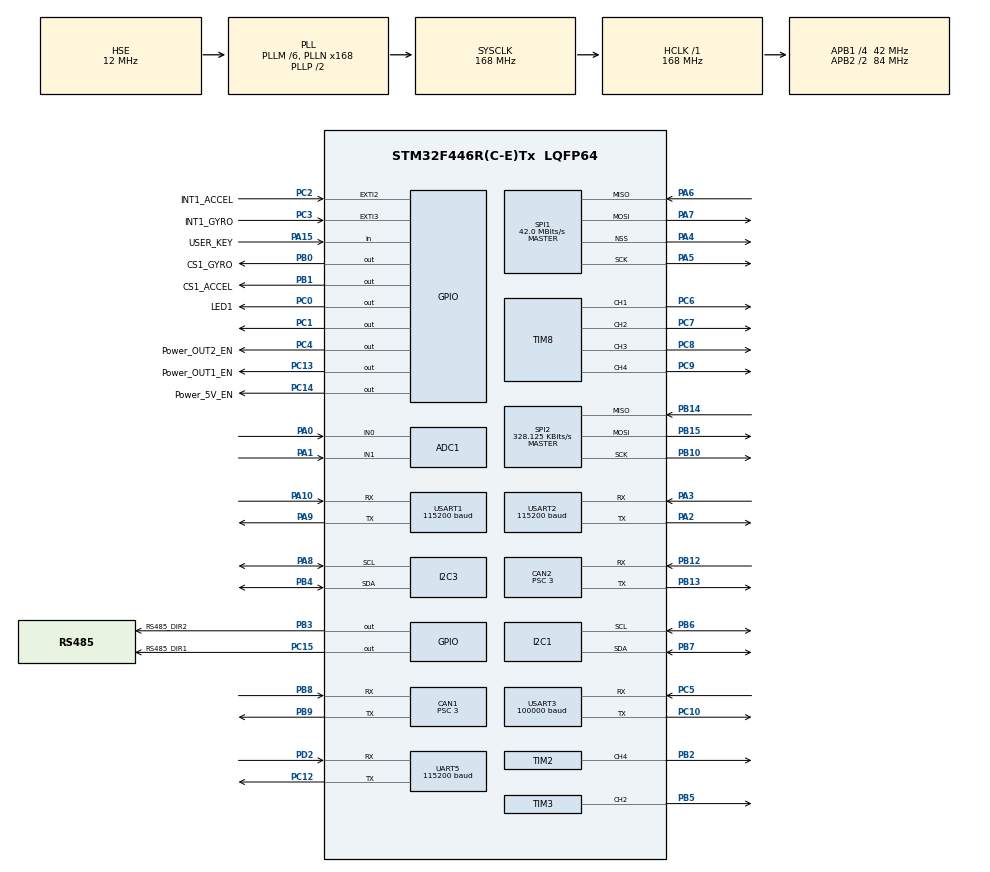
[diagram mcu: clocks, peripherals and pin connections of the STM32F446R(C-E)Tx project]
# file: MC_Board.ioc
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ADC1.Channel-0\#ChannelRegularConversion=ADC_CHANNEL_0
ADC1.NbrOfConversionFlag=1
ADC1.Rank-0\#ChannelRegularConversion=1
ADC1.SamplingTime-0\#ChannelRegularConversion=ADC_SAMPLETIME_3CYCLES
ADC1.master=1
CAN1.ABOM=ENABLE
CAN1.BS1=CAN_BS1_10TQ
CAN1.BS2=CAN_BS2_3TQ
CAN1.CalculateBaudRate=1000000
CAN1.CalculateTimeBit=1000
CAN1.CalculateTimeQuantum=71.42857142857143
CAN1.NART=ENABLE
CAN1.Prescaler=3
CAN1.SJW=CAN_SJW_1TQ
CAN2.BS1=CAN_BS1_10TQ
CAN2.BS2=CAN_BS2_3TQ
CAN2.CalculateBaudRate=1000000
CAN2.CalculateTimeBit=1000
CAN2.CalculateTimeQuantum=71.42857142857143
CAN2.Prescaler=3
CAN2.SJW=CAN_SJW_2TQ
Dma.Request0=USART3_RX
Dma.Request1=USART2_TX
Dma.Request2=USART2_RX
Dma.Request3=SPI2_RX
Dma.Request4=SPI2_TX
Dma.SPI2_RX.3.Direction=DMA_PERIPH_TO_MEMORY
Dma.SPI2_RX.3.FIFOMode=DMA_FIFOMODE_DISABLE
Dma.SPI2_RX.3.Instance=DMA1_Stream3
Dma.SPI2_RX.3.MemDataAlignment=DMA_MDATAALIGN_BYTE
Dma.SPI2_RX.3.MemInc=DMA_MINC_ENABLE
Dma.SPI2_RX.3.Mode=DMA_NORMAL
Dma.SPI2_RX.3.PeriphDataAlignment=DMA_PDATAALIGN_BYTE
Dma.SPI2_RX.3.PeriphInc=DMA_PINC_DISABLE
Dma.SPI2_RX.3.Priority=DMA_PRIORITY_VERY_HIGH
Dma.SPI2_TX.4.Direction=DMA_MEMORY_TO_PERIPH
Dma.SPI2_TX.4.FIFOMode=DMA_FIFOMODE_DISABLE
Dma.SPI2_TX.4.Instance=DMA1_Stream4
Dma.SPI2_TX.4.MemDataAlignment=DMA_MDATAALIGN_BYTE
Dma.SPI2_TX.4.MemInc=DMA_MINC_ENABLE
Dma.SPI2_TX.4.Mode=DMA_NORMAL
Dma.SPI2_TX.4.PeriphDataAlignment=DMA_PDATAALIGN_BYTE
Dma.SPI2_TX.4.PeriphInc=DMA_PINC_DISABLE
Dma.SPI2_TX.4.Priority=DMA_PRIORITY_HIGH
Dma.USART2_RX.2.Direction=DMA_PERIPH_TO_MEMORY
Dma.USART2_RX.2.FIFOMode=DMA_FIFOMODE_DISABLE
Dma.USART2_RX.2.Instance=DMA1_Stream5
Dma.USART2_RX.2.MemDataAlignment=DMA_MDATAALIGN_BYTE
Dma.USART2_RX.2.MemInc=DMA_MINC_ENABLE
Dma.USART2_RX.2.Mode=DMA_NORMAL
Dma.USART2_RX.2.PeriphDataAlignment=DMA_PDATAALIGN_BYTE
Dma.USART2_RX.2.PeriphInc=DMA_PINC_DISABLE
Dma.USART2_RX.2.Priority=DMA_PRIORITY_MEDIUM
Dma.USART2_TX.1.Direction=DMA_MEMORY_TO_PERIPH
Dma.USART2_TX.1.FIFOMode=DMA_FIFOMODE_DISABLE
Dma.USART2_TX.1.Instance=DMA1_Stream6
Dma.USART2_TX.1.MemDataAlignment=DMA_MDATAALIGN_BYTE
Dma.USART2_TX.1.MemInc=DMA_MINC_ENABLE
Dma.USART2_TX.1.Mode=DMA_NORMAL
Dma.USART2_TX.1.PeriphDataAlignment=DMA_PDATAALIGN_BYTE
Dma.USART2_TX.1.PeriphInc=DMA_PINC_DISABLE
Dma.USART2_TX.1.Priority=DMA_PRIORITY_MEDIUM
Dma.USART3_RX.0.Direction=DMA_PERIPH_TO_MEMORY
Dma.USART3_RX.0.FIFOMode=DMA_FIFOMODE_DISABLE
Dma.USART3_RX.0.Instance=DMA1_Stream1
Dma.USART3_RX.0.MemDataAlignment=DMA_MDATAALIGN_BYTE
Dma.USART3_RX.0.MemInc=DMA_MINC_ENABLE
Dma.USART3_RX.0.Mode=DMA_NORMAL
Dma.USART3_RX.0.PeriphDataAlignment=DMA_PDATAALIGN_BYTE
Dma.USART3_RX.0.PeriphInc=DMA_PINC_DISABLE
Dma.USART3_RX.0.Priority=DMA_PRIORITY_VERY_HIGH
Mcu.Family=STM32F4
Mcu.Name=STM32F446R(C-E)Tx
Mcu.Package=LQFP64
NVIC.CAN1_RX0_IRQn=true\:3\:0\:true\:false\:true\:true\:true\:true
NVIC.CAN1_TX_IRQn=true\:4\:0\:true\:false\:true\:true\:true\:true
NVIC.CAN2_RX0_IRQn=true\:3\:0\:true\:false\:true\:true\:true\:true
NVIC.CAN2_TX_IRQn=true\:4\:0\:true\:false\:true\:true\:true\:true
NVIC.DMA1_Stream1_IRQn=true\:0\:0\:false\:false\:true\:false\:true\:true
NVIC.DMA1_Stream3_IRQn=true\:0\:0\:false\:false\:false\:false\:true\:true
NVIC.DMA1_Stream4_IRQn=true\:0\:0\:false\:false\:true\:false\:true\:true
NVIC.DMA1_Stream5_IRQn=true\:0\:0\:false\:false\:true\:false\:true\:true
NVIC.DMA1_Stream6_IRQn=true\:0\:0\:false\:false\:true\:false\:true\:true
NVIC.EXTI2_IRQn=true\:5\:0\:true\:false\:true\:true\:true\:true
NVIC.EXTI3_IRQn=true\:5\:0\:true\:false\:true\:true\:true\:true
NVIC.PriorityGroup=NVIC_PRIORITYGROUP_4
NVIC.TIM7_IRQn=true\:5\:0\:true\:false\:true\:true\:true\:true
NVIC.UART5_IRQn=true\:4\:0\:true\:false\:true\:true\:true\:true
NVIC.USART1_IRQn=true\:4\:0\:true\:false\:true\:true\:true\:true
NVIC.USART2_IRQn=true\:4\:0\:true\:false\:true\:true\:true\:true
NVIC.USART3_IRQn=true\:4\:0\:true\:false\:true\:true\:true\:true
PA0-WKUP.GPIO_Mode=GPIO_MODE_ANALOG
PA0-WKUP.GPIO_PuPd=GPIO_NOPULL
PA0-WKUP.Signal=ADCx_IN0
PA1.GPIO_Mode=GPIO_MODE_ANALOG
PA1.GPIO_PuPd=GPIO_NOPULL
PA1.Signal=ADCx_IN1
PA10.Mode=Asynchronous
PA10.Signal=USART1_RX
PA13.Mode=Serial_Wire
PA13.Signal=SYS_JTMS-SWDIO
PA14.Mode=Serial_Wire
PA14.Signal=SYS_JTCK-SWCLK
PA15.GPIO_Label=USER_KEY
PA15.Signal=GPIO_Input
PA2.Mode=Asynchronous
PA2.Signal=USART2_TX
PA3.Mode=Asynchronous
PA3.Signal=USART2_RX
PA4.Mode=NSS_Signal_Hard_Output
PA4.Signal=SPI1_NSS
PA5.Mode=Full_Duplex_Master
PA5.Signal=SPI1_SCK
PA6.Mode=Full_Duplex_Master
PA6.Signal=SPI1_MISO
PA7.Mode=Full_Duplex_Master
PA7.Signal=SPI1_MOSI
PA8.GPIO_Pu=GPIO_PULLUP
PA8.Mode=I2C
PA8.Signal=I2C3_SCL
PA9.Mode=Asynchronous
PA9.Signal=USART1_TX
PB0.GPIO_Label=CS1_GYRO
PB0.GPIO_PuPd=GPIO_PULLUP
PB0.GPIO_Speed=GPIO_SPEED_FREQ_HIGH
PB0.Signal=GPIO_Output
PB1.GPIO_Label=CS1_ACCEL
PB1.GPIO_PuPd=GPIO_PULLUP
PB1.GPIO_Speed=GPIO_SPEED_FREQ_HIGH
PB1.Signal=GPIO_Output
PB10.Mode=Full_Duplex_Master
PB10.Signal=SPI2_SCK
PB12.Mode=CAN_Activate
PB12.Signal=CAN2_RX
PB13.Mode=CAN_Activate
PB13.Signal=CAN2_TX
PB14.Mode=Full_Duplex_Master
PB14.Signal=SPI2_MISO
PB15.Mode=Full_Duplex_Master
PB15.Signal=SPI2_MOSI
PB2.GPIO_ModeDefaultPP=GPIO_MODE_AF_PP
PB2.GPIO_PuPd=GPIO_NOPULL
PB2.GPIO_Speed=GPIO_SPEED_FREQ_LOW
PB2.Signal=S_TIM2_CH4
PB3.GPIO_Label=RS485_DIR2
PB3.GPIO_ModeDefaultOutputPP=GPIO_MODE_OUTPUT_PP
PB3.GPIO_PuPd=GPIO_NOPULL
PB3.GPIO_Speed=GPIO_SPEED_FREQ_LOW
PB3.PinState=GPIO_PIN_RESET
PB3.Signal=GPIO_Output
PB4.GPIO_Pu=GPIO_PULLUP
PB4.Mode=I2C
PB4.Signal=I2C3_SDA
PB5.GPIO_PuPd=GPIO_PULLDOWN
PB5.Signal=S_TIM3_CH2
PB6.GPIO_Pu=GPIO_PULLUP
PB6.Mode=I2C
PB6.Signal=I2C1_SCL
PB7.GPIO_Pu=GPIO_PULLUP
PB7.Mode=I2C
PB7.Signal=I2C1_SDA
PB8.Mode=CAN_Activate
PB8.Signal=CAN1_RX
PB9.Mode=CAN_Activate
PB9.Signal=CAN1_TX
PC0.GPIO_Label=LED1
PC0.GPIO_ModeDefaultOutputPP=GPIO_MODE_OUTPUT_PP
PC0.GPIO_PuPd=GPIO_NOPULL
PC0.GPIO_Speed=GPIO_SPEED_FREQ_LOW
PC0.PinState=GPIO_PIN_RESET
PC0.Signal=GPIO_Output
PC1.Signal=GPIO_Output
PC10.Mode=Asynchronous
PC10.Signal=USART3_TX
PC12.Mode=Asynchronous
PC12.Signal=UART5_TX
PC13.GPIO_Label=Power_OUT1_EN
PC13.GPIO_ModeDefaultOutputPP=GPIO_MODE_OUTPUT_PP
PC13.GPIO_PuPd=GPIO_NOPULL
PC13.GPIO_Speed=GPIO_SPEED_FREQ_LOW
PC13.PinState=GPIO_PIN_RESET
PC13.Signal=GPIO_Output
PC14-OSC32_IN.GPIO_Label=Power_5V_EN
PC14-OSC32_IN.GPIO_ModeDefaultOutputPP=GPIO_MODE_OUTPUT_PP
PC14-OSC32_IN.GPIO_PuPd=GPIO_NOPULL
PC14-OSC32_IN.GPIO_Speed=GPIO_SPEED_FREQ_LOW
PC14-OSC32_IN.PinState=GPIO_PIN_RESET
PC14-OSC32_IN.Signal=GPIO_Output
PC15-OSC32_OUT.GPIO_Label=RS485_DIR1
PC15-OSC32_OUT.GPIO_ModeDefaultOutputPP=GPIO_MODE_OUTPUT_PP
PC15-OSC32_OUT.GPIO_PuPd=GPIO_NOPULL
PC15-OSC32_OUT.GPIO_Speed=GPIO_SPEED_FREQ_LOW
PC15-OSC32_OUT.PinState=GPIO_PIN_RESET
PC15-OSC32_OUT.Signal=GPIO_Output
PC2.GPIO_Label=INT1_ACCEL
PC2.Signal=GPXTI2
PC3.GPIO_Label=INT1_GYRO
PC3.Signal=GPXTI3
PC4.GPIO_Label=Power_OUT2_EN
PC4.Signal=GPIO_Output
PC5.Mode=Asynchronous
PC5.Signal=USART3_RX
PC6.Signal=S_TIM8_CH1
PC7.Signal=S_TIM8_CH2
PC8.Signal=S_TIM8_CH3
PC9.Signal=S_TIM8_CH4
PD2.Mode=Asynchronous
PD2.Signal=UART5_RX
PH0-OSC_IN.Mode=HSE-External-Oscillator
PH0-OSC_IN.Signal=RCC_OSC_IN
PH1-OSC_OUT.Mode=HSE-External-Oscillator
PH1-OSC_OUT.Signal=RCC_OSC_OUT
ProjectManager.HeapSize=0x10000
ProjectManager.StackSize=0x8000
ProjectManager.TargetToolchain=MDK-ARM V5.32
RCC.AHBFreq_Value=168000000
RCC.APB1CLKDivider=RCC_HCLK_DIV4
RCC.APB1Freq_Value=42000000
RCC.APB1TimFreq_Value=84000000
RCC.APB2CLKDivider=RCC_HCLK_DIV2
RCC.APB2Freq_Value=84000000
RCC.APB2TimFreq_Value=168000000
RCC.CortexFreq_Value=168000000
RCC.HCLKFreq_Value=168000000
RCC.HSE_VALUE=12000000
RCC.PLLM=6
RCC.PLLN=168
RCC.PLLQ=7
RCC.PLLSAIM=6
RCC.PLLSAIN=96
RCC.PLLSAIP=RCC_PLLSAIP_DIV4
RCC.PLLSourceVirtual=RCC_PLLSOURCE_HSE
RCC.SYSCLKFreq_VALUE=168000000
RCC.SYSCLKSource=RCC_SYSCLKSOURCE_PLLCLK
RCC.USBFreq_Value=48000000
RCC.VCOOutputFreq_Value=336000000
SH.ADCx_IN0.0=ADC1_IN0,IN0
SH.ADCx_IN1.0=ADC1_IN1,IN1
SH.S_TIM2_CH4.0=TIM2_CH4,PWM Generation4 CH4
SH.S_TIM3_CH2.0=TIM3_CH2,PWM Generation2 CH2
SH.S_TIM8_CH1.0=TIM8_CH1,PWM Generation1 CH1
SH.S_TIM8_CH2.0=TIM8_CH2,PWM Generation2 CH2
SH.S_TIM8_CH3.0=TIM8_CH3,PWM Generation3 CH3
SH.S_TIM8_CH4.0=TIM8_CH4,PWM Generation4 CH4
SPI1.BaudRatePrescaler=SPI_BAUDRATEPRESCALER_2
SPI1.CalculateBaudRate=42.0 MBits/s
SPI1.Direction=SPI_DIRECTION_2LINES
SPI1.Mode=SPI_MODE_MASTER
SPI1.VirtualNSS=VM_NSSHARD
SPI1.VirtualType=VM_MASTER
SPI2.BaudRatePrescaler=SPI_BAUDRATEPRESCALER_128
SPI2.CLKPhase=SPI_PHASE_2EDGE
SPI2.CLKPolarity=SPI_POLARITY_HIGH
SPI2.CalculateBaudRate=328.125 KBits/s
SPI2.Direction=SPI_DIRECTION_2LINES
SPI2.Mode=SPI_MODE_MASTER
SPI2.VirtualType=VM_MASTER
TIM2.AutoReloadPreload=TIM_AUTORELOAD_PRELOAD_ENABLE
TIM2.Channel-PWM\ Generation4\ CH4=TIM_CHANNEL_4
TIM2.Period=1000000
TIM2.Prescaler=42 - 1
TIM3.Channel-PWM\ Generation2\ CH2=TIM_CHANNEL_2
TIM3.Period=4999
TIM7.Period=1000 - 1
TIM7.Prescaler=84 - 1
TIM8.Channel-PWM\ Generation1\ CH1=TIM_CHANNEL_1
TIM8.Channel-PWM\ Generation2\ CH2=TIM_CHANNEL_2
TIM8.Channel-PWM\ Generation3\ CH3=TIM_CHANNEL_3
TIM8.Channel-PWM\ Generation4\ CH4=TIM_CHANNEL_4
UART5.BaudRate=115200
UART5.VirtualMode=Asynchronous
USART1.BaudRate=115200
USART1.VirtualMode=VM_ASYNC
USART2.BaudRate=115200
USART2.VirtualMode=VM_ASYNC
USART3.BaudRate=100000
USART3.Mode=MODE_RX
USART3.Parity=PARITY_EVEN
USART3.StopBits=STOPBITS_2
USART3.VirtualMode=VM_ASYNC
USART3.WordLength=WORDLENGTH_9B
VP_IWDG_VS_IWDG.Mode=IWDG_Activate
VP_TIM2_VS_ClockSourceINT.Mode=Internal
VP_TIM7_VS_ClockSourceINT.Mode=Enable_Timer
board=custom

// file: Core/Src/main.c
/* USER CODE BEGIN Header */
/**
  ******************************************************************************
  * @file           : main.c
  * @brief          : Main program body
  ******************************************************************************
  * @attention
  *
  * Copyright (c) 2023 STMicroelectronics.
  * All rights reserved.
  *
  * This software is licensed under terms that can be found in the LICENSE file
  * in the root directory of this software component.
  * If no LICENSE file comes with this software, it is provided AS-IS.
  *
  ******************************************************************************
  */
/* USER CODE END Header */
#include "main.h"
#include "adc.h"
#include "can.h"
#include "dma.h"
#include "i2c.h"
#include "iwdg.h"
#include "spi.h"
#include "tim.h"
#include "usart.h"
#include "gpio.h"

/* USER CODE BEGIN Includes */
#include "Interface.h"
/* USER CODE END Includes */

void SystemClock_Config(void);
/* USER CODE BEGIN PFP */
void SystemClock_PreConfig(void);
void SystemClock_PostConfig(void);
/* USER CODE END PFP */

int main(void)
{
  /* USER CODE BEGIN 1 */
goto usercode;
  /* USER CODE END 1 */

  /* MCU Configuration--------------------------------------------------------*/

  /* Reset of all peripherals, Initializes the Flash interface and the Systick. */
  HAL_Init();

  /* USER CODE BEGIN Init */
  SystemClock_PreConfig();
  /* USER CODE END Init */

  /* Configure the system clock */
  SystemClock_Config();

  /* USER CODE BEGIN SysInit */
  SystemClock_PostConfig();
  /* USER CODE END SysInit */

  /* Initialize all configured peripherals */
  MX_GPIO_Init();
  MX_DMA_Init();
  MX_CAN1_Init();
  MX_CAN2_Init();
  MX_SPI1_Init();
  MX_UART5_Init();
  MX_USART1_UART_Init();
  MX_ADC1_Init();
  MX_I2C1_Init();
  MX_TIM8_Init();
  MX_I2C3_Init();
  MX_SPI2_Init();
  MX_USART2_UART_Init();
  MX_TIM3_Init();
  MX_TIM2_Init();
  MX_TIM7_Init();
  MX_USART3_UART_Init();
  MX_IWDG_Init();
  /* USER CODE BEGIN 2 */
  usercode:
  Setup();
  /* USER CODE END 2 */

  /* Infinite loop */
  while (1)
  {

    /* USER CODE BEGIN 3 */
    Loop();
  }
  /* USER CODE END 3 */
}

void SystemClock_Config(void)
{
  RCC_OscInitTypeDef RCC_OscInitStruct = {0};
  RCC_ClkInitTypeDef RCC_ClkInitStruct = {0};

  /** Configure the main internal regulator output voltage
  */
  __HAL_RCC_PWR_CLK_ENABLE();
  __HAL_PWR_VOLTAGESCALING_CONFIG(PWR_REGULATOR_VOLTAGE_SCALE1);

  /** Initializes the RCC Oscillators according to the specified parameters
  * in the RCC_OscInitTypeDef structure.
  */
  RCC_OscInitStruct.OscillatorType = RCC_OSCILLATORTYPE_LSI|RCC_OSCILLATORTYPE_HSE;
  RCC_OscInitStruct.HSEState = RCC_HSE_ON;
  RCC_OscInitStruct.LSIState = RCC_LSI_ON;
  RCC_OscInitStruct.PLL.PLLState = RCC_PLL_ON;
  RCC_OscInitStruct.PLL.PLLSource = RCC_PLLSOURCE_HSE;
  RCC_OscInitStruct.PLL.PLLM = 6;
  RCC_OscInitStruct.PLL.PLLN = 168;
  RCC_OscInitStruct.PLL.PLLP = RCC_PLLP_DIV2;
  RCC_OscInitStruct.PLL.PLLQ = 7;
  RCC_OscInitStruct.PLL.PLLR = 2;
  if (HAL_RCC_OscConfig(&RCC_OscInitStruct) != HAL_OK)
  {
    Error_Handler();
  }

  /** Initializes the CPU, AHB and APB buses clocks
  */
  RCC_ClkInitStruct.ClockType = RCC_CLOCKTYPE_HCLK|RCC_CLOCKTYPE_SYSCLK
                              |RCC_CLOCKTYPE_PCLK1|RCC_CLOCKTYPE_PCLK2;
  RCC_ClkInitStruct.SYSCLKSource = RCC_SYSCLKSOURCE_PLLCLK;
  RCC_ClkInitStruct.AHBCLKDivider = RCC_SYSCLK_DIV1;
  RCC_ClkInitStruct.APB1CLKDivider = RCC_HCLK_DIV4;
  RCC_ClkInitStruct.APB2CLKDivider = RCC_HCLK_DIV2;

  if (HAL_RCC_ClockConfig(&RCC_ClkInitStruct, FLASH_LATENCY_5) != HAL_OK)
  {
    Error_Handler();
  }
}

/* USER CODE BEGIN 4 */
/**
 * @brief 将时钟源选择为内部时钟，避免Clion的Debug模式无法使能锁相�????
 */
void SystemClock_PreConfig(void) {
    RCC_ClkInitTypeDef RCC_ClkInitStruct = {0};
    RCC_ClkInitStruct.ClockType = RCC_CLOCKTYPE_SYSCLK;
    RCC_ClkInitStruct.SYSCLKSource = RCC_SYSCLKSOURCE_HSI;
    if (HAL_RCC_ClockConfig(&RCC_ClkInitStruct, FLASH_LATENCY_5) != HAL_OK) {
        Error_Handler();
    }
}

void SystemClock_PostConfig(void) {
    RCC_OscInitTypeDef RCC_OscInitStruct = {0};
    RCC_OscInitStruct.OscillatorType = RCC_OSCILLATORTYPE_HSI;
    RCC_OscInitStruct.HSIState = RCC_HSI_OFF;
    RCC_OscInitStruct.PLL.PLLState = RCC_PLL_NONE;
    if(HAL_RCC_OscConfig(&RCC_OscInitStruct) != HAL_OK) {
        Error_Handler();
    }
}
/* USER CODE END 4 */

void Error_Handler(void)
{
  __disable_irq();
  while (1)
  {
  }
}
